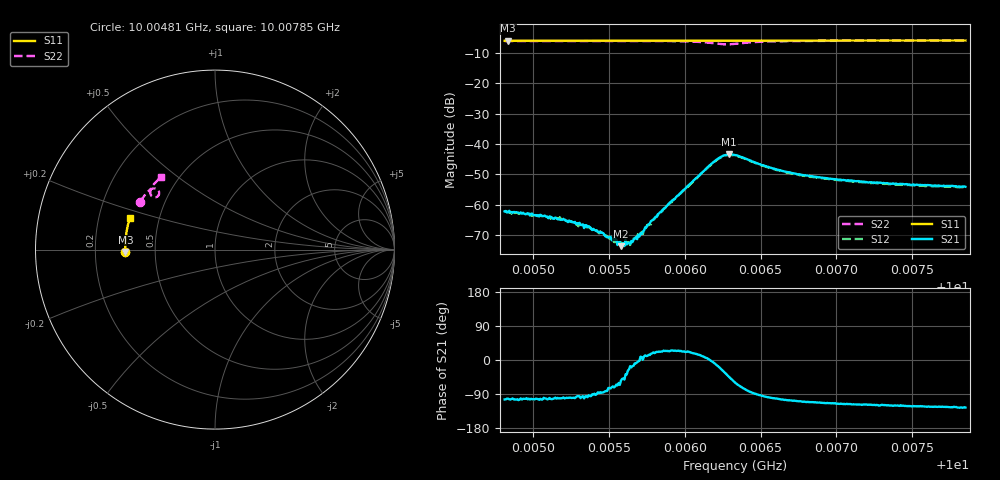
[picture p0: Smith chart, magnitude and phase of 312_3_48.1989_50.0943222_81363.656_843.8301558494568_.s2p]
#  HZ  S  RI  R  50.00
! Rohde & Schwarz Vector Network Analyzer
! Rohde-Schwarz,ZNB20-2Port,1311601062101988,3.16
! Created: UTC 3/20/2024, 11:50:02 AM
! freq[Hz]  re:S11  im:S11  re:S21  im:S21  re:S12  im:S12  re:S22  im:S22
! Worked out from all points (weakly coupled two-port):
!   401 points, 10.00481 GHz to 10.00785 GHz, reference 50 ohm
!   highest |S21| = -43.45 dB at 10.00629 GHz (marker M1); lowest = -73.7 dB at 10.00558 GHz (marker M2)
!   lowest |S11| = -6.0 dB at 10.00483 GHz (marker M3), VSWR 2.99, Z = 16.7 - j0.571 ohm
!   |S11| at or under -10 dB: nowhere
!   |S22| runs from -7.2 to -6.0 dB; largest |S21 - S12| = 0.00038
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1.0004811e10  -0.4991 -0.0144  -0.000189 -0.000752  -0.000131 -0.000786  -0.4155 0.2668
1.0004834e10  -0.499 -0.0128  -0.000154 -0.000733  -0.000158 -0.000744  -0.4148 0.2683
1.0005062e10  -0.4998 0.00189  -0.000157 -0.00063  -9.05e-05 -0.000643  -0.4067 0.2816
1.0005191e10  -0.4998 0.0104  -0.000104 -0.000554  -7.56e-05 -0.000586  -0.4016 0.2893
1.0005321e10  -0.5 0.0188  -5.79e-05 -0.000459  -4.7e-05 -0.000459  -0.3965 0.2971
1.0005359e10  -0.4998 0.0213  -6.13e-05 -0.000421  -1.68e-05 -0.000432  -0.3948 0.2993
1.000545e10  -0.4999 0.027  2.04e-05 -0.000351  4.62e-05 -0.000336  -0.3908 0.3048
1.0005556e10  -0.4996 0.034  8.45e-05 -0.000199  0.000133 -0.000209  -0.3854 0.3114
1.0005571e10  -0.4995 0.035  0.000101 -0.000223  0.000138 -0.000186  -0.3847 0.3124
1.0005579e10  -0.4995 0.0355  0.000122 -0.000168  0.00015 -0.000187  -0.3845 0.3127
1.000564e10  -0.4994 0.0394  0.000219 -6.36e-05  0.000207 -6.59e-05  -0.381 0.3166
1.000567e10  -0.4992 0.0414  0.000273 -4.21e-05  0.00028 -4.46e-05  -0.3793 0.3185
1.0005723e10  -0.499 0.0448  0.000361 4.14e-06  0.000325 3.35e-05  -0.376 0.3219
1.000583e10  -0.4986 0.0518  0.000662 0.000269  0.000649 0.000312  -0.3686 0.3288
1.000618e10  -0.496 0.0742  0.00479 -0.000305  0.00472 -0.000114  -0.3167 0.3312
1.000624e10  -0.4954 0.078  0.0056 -0.00252  0.0056 -0.00218  -0.3111 0.3114
1.0006294e10  -0.4951 0.081  0.00474 -0.00476  0.00488 -0.00443  -0.3226 0.2945
1.0006332e10  -0.4947 0.0834  0.00334 -0.00567  0.00359 -0.00537  -0.3358 0.2912
1.0006613e10  -0.4925 0.1015  -0.000787 -0.00366  -0.000636 -0.00364  -0.359 0.3325
1.0006841e10  -0.4898 0.1161  -0.00106 -0.00274  -0.000921 -0.00272  -0.349 0.3526
1.000735e10  -0.4822 0.1479  -0.0011 -0.00192  -0.000985 -0.00195  -0.3236 0.3823
1.0007852e10  -0.4725 0.1788  -0.00114 -0.0016  -0.00103 -0.00164  -0.2982 0.4056
